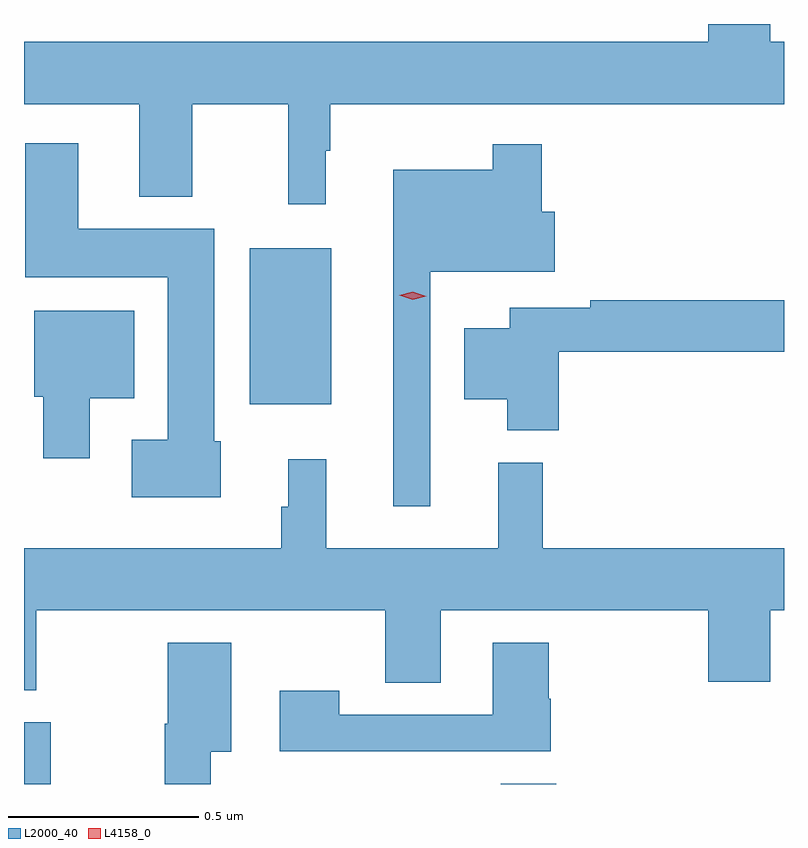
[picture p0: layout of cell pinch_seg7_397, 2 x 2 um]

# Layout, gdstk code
import gdstk
lib = gdstk.Library(unit=1e-6, precision=1e-09)
def R(c, l, rs):  # rectangles x0, y0, x1, y1
    for r in rs: c.add(gdstk.rectangle(r[:2], r[2:], *l))
def P(c, l, *ps):  # polygons
    for p in ps: c.add(gdstk.Polygon(p, *l))
L2000_40 = (2000, 40)
L4158_0 = (4158, 0)

pinch_seg7_397 = lib.new_cell('pinch_seg7_397')
R(pinch_seg7_397, L2000_40, [(426.944,1008.151,427.014,1008.313), (428.198,1008.151,428.345,1008.152), (427.538,1009.151,427.753,1009.561)])
P(pinch_seg7_397, L2000_40, [(427.738,1009.817),(427.75,1009.817),(427.75,1009.94),(428.944,1009.94),(428.944,1010.104),(428.908,1010.104),(428.908,1010.151),(428.744,1010.151),(428.744,1010.104),(426.944,1010.104),(426.944,1009.94),(427.247,1009.94),(427.247,1009.697),(427.387,1009.697),(427.387,1009.94),(427.639,1009.94),(427.639,1009.677),(427.738,1009.677)],
  [(427.462,1009.053),(427.444,1009.053),(427.444,1009.612),(427.087,1009.612),(427.087,1009.837),(426.947,1009.837),(426.947,1009.484),(427.322,1009.484),(427.322,1009.057),(427.227,1009.057),(427.227,1008.905),(427.462,1008.905)],
  [(428.013,1009.499),(428.341,1009.499),(428.341,1009.657),(428.306,1009.657),(428.306,1009.834),(428.178,1009.834),(428.178,1009.768),(427.916,1009.768),(427.916,1008.882),(428.013,1008.882)],
  [(428.351,1009.288),(428.944,1009.288),(428.944,1009.424),(428.434,1009.424),(428.434,1009.404),(428.222,1009.404),(428.222,1009.351),(428.102,1009.351),(428.102,1009.163),(428.216,1009.163),(428.216,1009.082),(428.351,1009.082)],
  [(427.117,1009.166),(427.234,1009.166),(427.234,1009.396),(426.971,1009.396),(426.971,1009.17),(426.995,1009.17),(426.995,1009.008),(427.117,1009.008)],
  [(427.894,1008.418),(428.041,1008.418),(428.041,1008.608),(428.744,1008.608),(428.744,1008.42),(428.908,1008.42),(428.908,1008.608),(428.944,1008.608),(428.944,1008.772),(428.309,1008.772),(428.309,1008.997),(428.192,1008.997),(428.192,1008.772),(427.739,1008.772),(427.739,1009.006),(427.64,1009.006),(427.64,1008.881),(427.621,1008.881),(427.621,1008.772),(426.944,1008.772),(426.944,1008.398),(426.976,1008.398),(426.976,1008.608),(427.894,1008.608)],
  [(428.33,1008.375),(428.325,1008.375),(428.325,1008.523),(428.177,1008.523),(428.177,1008.333),(427.773,1008.333),(427.773,1008.397),(427.617,1008.397),(427.617,1008.237),(428.33,1008.237)],
  [(427.435,1008.236),(427.489,1008.236),(427.489,1008.523),(427.322,1008.523),(427.322,1008.309),(427.315,1008.309),(427.315,1008.151),(427.435,1008.151)])
P(pinch_seg7_397, L4158_0, [(427.967,1009.426),(427.932,1009.437),(427.932,1009.437),(427.932,1009.437),(427.967,1009.446),(428.002,1009.435),(428.003,1009.434),(428.002,1009.434)])

lib.write_gds('pinch_seg7_397.gds')
